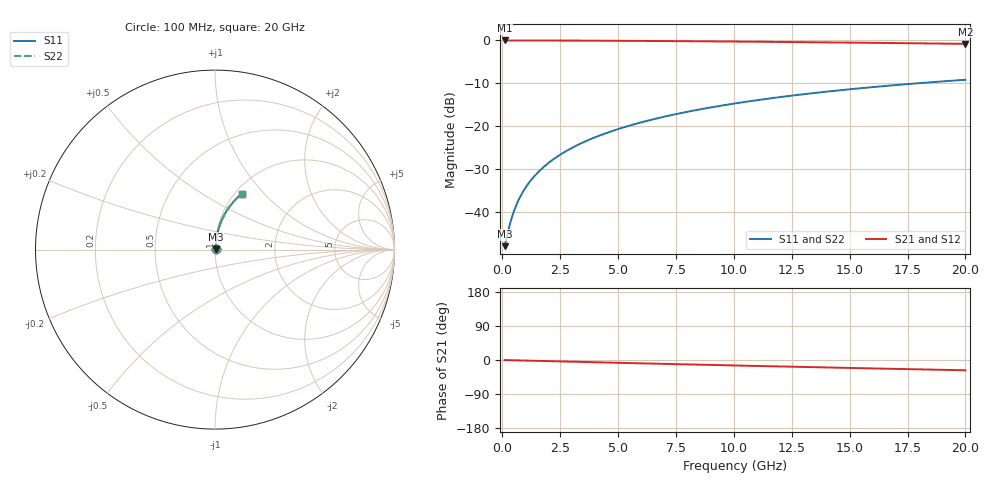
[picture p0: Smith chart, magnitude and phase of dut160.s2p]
! Touchstone file exported from HFSS 2024.1.0
!  File:  C:/UserFiles/LocalFiles/RDL_TSV_Batchsim/temp_RDL_top_160_1778685465.aedt
!  Generated:  11:20:07 PM May 13, 2026
!  Design:  RDL_top
!  Project:  temp_RDL_top_160_1778685465
!  Setup:  Setup1
!  Solution:  Sweep
! Variables:
!  dtsv = 10.80580581um
!  hbump = 3um
!  htsv = 89.49um
!  ldown = 100um
!  lrdl = 305.09um
!  p = 40
!  p1 = 46.41um
!  rhole = 1um
!  t = 450um
!  tdown = 3.915915916um
!  trdl = 3.04um
!  wdown = 15.38538539um
!  wrdl = 10.5um
# GHz S MA R 50.000000
! Terminal data exported
! Port[1] = Box2_T1
! Port[2] = Box2_T2
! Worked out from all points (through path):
!   200 points, 100 MHz to 20 GHz, reference 50 ohm
!   highest |S21| = -0.03 dB at 100 MHz (marker M1); lowest = -0.8 dB at 20 GHz (marker M2)
!   group delay of S21, straight-line fit = 3.77 ps
!   lowest |S11| = -48.0 dB at 100 MHz (marker M3), VSWR 1.01, Z = 50.4 + j0.192 ohm
!   |S11| at or under -10 dB: start of sweep to 17.97 GHz
!   |S22| runs from -48.0 to -9.2 dB; largest |S21 - S12| = 2.5e-15
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0.1  0.003989 28.5  0.9965 -0.2  0.9965 -0.2  0.003989 28.5
! Gamma 0 0 0 0
! Port Impedance 50 0 50 0
0.3  0.006728 57.7  0.9964 -0.5  0.9964 -0.5  0.006728 57.7
0.4  0.008405 64.2  0.9963 -0.6  0.9963 -0.6  0.008405 64.2
0.5  0.01015 68.4  0.9963 -0.8  0.9963 -0.8  0.01015 68.4
0.6  0.01192 71.3  0.9962 -0.9  0.9962 -0.9  0.01192 71.3
0.7  0.0137 73.4  0.9961 -1.1  0.9961 -1.1  0.0137 73.4
0.9  0.0173 76.3  0.9959 -1.4  0.9959 -1.4  0.0173 76.3
1.2  0.02273 78.8  0.9956 -1.8  0.9956 -1.8  0.02273 78.8
1.4  0.02636 79.8  0.9954 -2.1  0.9954 -2.1  0.02636 79.8
1.7  0.03183 80.8  0.9951 -2.6  0.9951 -2.6  0.03183 80.8
2.2  0.04096 81.8  0.9944 -3.3  0.9944 -3.3  0.04096 81.8
2.8  0.05195 82.2  0.9934 -4.2  0.9934 -4.2  0.05195 82.2
3.5  0.0648 82.2  0.992 -5.2  0.992 -5.2  0.0648 82.2
4.2  0.07766 81.9  0.9903 -6.2  0.9903 -6.2  0.07766 81.9
5  0.09235 81.4  0.988 -7.4  0.988 -7.4  0.09235 81.4
5.9  0.1089 80.6  0.9851 -8.7  0.9851 -8.7  0.1089 80.6
6.8  0.1253 79.7  0.9818 -10.0  0.9818 -10.0  0.1253 79.7
8.3  0.1525 78.1  0.9757 -12.1  0.9757 -12.1  0.1525 78.1
10.1  0.1847 76.1  0.9674 -14.6  0.9674 -14.6  0.1847 76.1
13.4  0.242 72.1  0.95 -18.9  0.95 -18.9  0.242 72.1
16.7  0.2963 68.1  0.9307 -23.1  0.9307 -23.1  0.2963 68.1
20  0.3471 64.2  0.9099 -27.1  0.9099 -27.1  0.347 64.2
